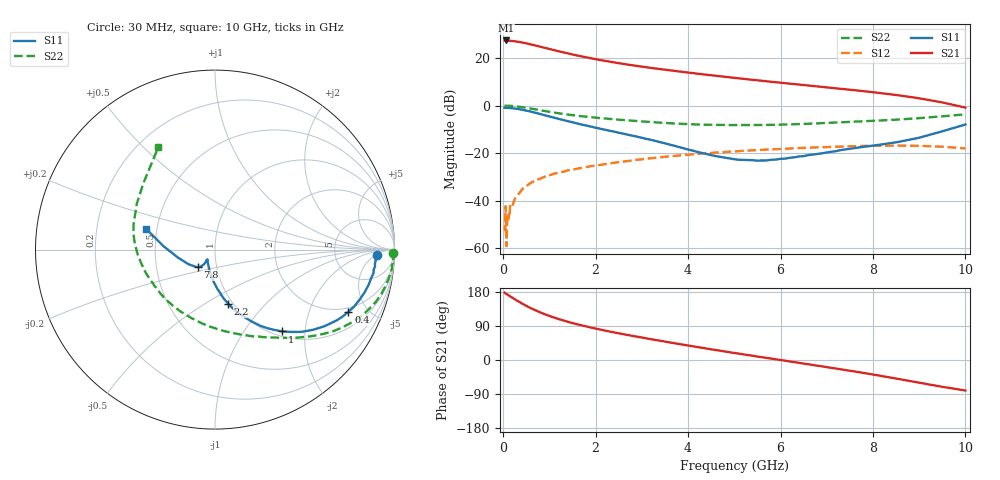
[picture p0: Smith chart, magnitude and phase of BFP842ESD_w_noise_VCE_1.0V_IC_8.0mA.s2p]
! Infineon Technologies  Discrete & RF Semiconductors
! BFP842ESD
! VCE =  1.0 V,  IC =  8.0 mA
! Common Emitter S-Parameters:  May 2012
# GHz  S  MA  R  50
!  f  S11  S21  S12  S22
! GHz  MAG  ANG  MAG  ANG  MAG  ANG  MAG  ANG
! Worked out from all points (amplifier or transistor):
!   99 points, 30 MHz to 10 GHz, reference 50 ohm
!   highest |S21| = 27.4 dB at 60 MHz (marker M1)
!   |S21| within 3 dB of that: start of sweep to 878.1 MHz
!   unconditionally stable (mu >= 1): 2.843 GHz to end of sweep
!   at 350 MHz: K = 0.22, MSG = 31.8 dB, |S12| = -36.8 dB
!   at 3.5 GHz: K = 1.07, MAG = 16.7 dB, |S12| = -21.5 dB
!   at 10 GHz: K = 2.08, MAG = 2.7 dB, |S12| = -18.0 dB
!   lowest NFmin = 0.54 dB at 450 MHz
!   S11 on the Smith chart (normalised r, x): 30 MHz: 18, -6; 400 MHz: 1.76, -3.73; 1 GHz: 1.09, -1.52; 2.2 GHz: 0.95, -0.64; 7.8 GHz: 0.81, -0.16; 10 GHz: 0.44, +0.12
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0.03  0.9038 -1.8  23.27 177.6  0.0029 83.2  0.992 -1.0
0.04  0.9016 -2.4  23.24 176.6  0.0024 111.1  0.9939 -1.6
0.05  0.8913 -2.8  23.11 175.6  0.0076 -159.9  0.9864 -2.2
0.06  0.8972 -3.7  23.47 174.9  0.0032 139.3  0.9966 -2.8
0.07  0.8965 -4.2  23.23 174.3  0.0011 43.9  0.9879 -3.4
0.1  0.8944 -6.5  23.17 172.1  0.0052 76.5  0.9885 -5.1
0.25  0.8662 -16.1  22.61 160.4  0.0109 74.9  0.9679 -12.9
0.4  0.8202 -25.0  21.32 149.5  0.0168 73.0  0.9285 -19.9
0.5  0.7841 -30.2  20.41 142.9  0.0203 71.4  0.8976 -24.2
0.7  0.7046 -39.4  18.35 131.1  0.0269 64.9  0.8309 -31.5
1  0.5897 -50.6  15.53 116.2  0.0341 58.5  0.7392 -40.3
1.3  0.496 -59.1  13.19 104.4  0.0405 54.3  0.6675 -47.4
1.7  0.3973 -67.6  10.82 91.3  0.0488 49.4  0.5957 -55.3
2.2  0.3107 -76.3  8.757 77.7  0.0585 44.6  0.5351 -64.9
2.7  0.2432 -83.2  7.281 65.8  0.0682 39.5  0.488 -74.6
3.4  0.1695 -94.0  5.855 50.7  0.0814 32.2  0.4365 -90.5
4.2  0.1061 -109.1  4.697 34.2  0.0962 23.0  0.4001 -111.4
5.1  0.0723 -125.0  3.741 16.7  0.1101 11.8  0.3886 -134.0
6.7  0.0931 -126.4  2.587 -13.1  0.1313 -9.0  0.4187 -169.7
7.8  0.1354 -134.4  2.008 -34.3  0.1413 -25.6  0.4676 166.1
8.5  0.1684 -150.9  1.671 -48.9  0.1439 -37.7  0.5054 149.5
10  0.4 163.3  0.907 -80.5  0.1254 -67.4  0.6537 118.8
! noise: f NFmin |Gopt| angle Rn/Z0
0.45  0.54  0.21  2  0.1
0.9  0.55  0.22  7  0.1
1.5  0.57  0.23  18  0.09
1.9  0.58  0.22  25  0.09
2.4  0.59  0.18  33  0.08
3.5  0.67  0.11  86  0.08
4  0.7  0.1  115  0.08
5  0.76  0.11  136  0.08
5.5  0.88  0.11  162  0.07
6  0.99  0.11  178  0.06
